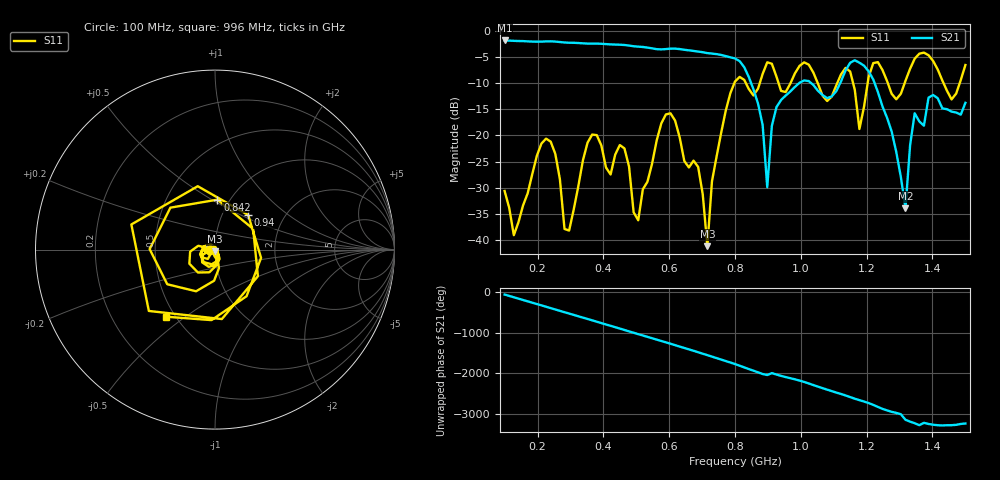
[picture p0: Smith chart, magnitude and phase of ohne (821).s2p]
! NanoVNA-App
! Date: 2025-09-25 14:27:11
! Start: 100MHz Stop: 1,5GHz Points: 101
! S-Parameter data: F S11 S21 S12 S22
# Hz S RI R 50
!  Frequency  S11_Real  S11_Imag  S21_Real  S21_Imag  S12_Real  S12_Imag  S22_Real  S22_Imag
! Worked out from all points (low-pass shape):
!   101 points, 100 MHz to 1.5 GHz, reference 50 ohm
!   highest |S21| = -1.79 dB at 100 MHz (marker M1); lowest = -33.9 dB at 1.318 GHz (marker M2)
!   |S21| within 3 dB of the highest: start of sweep to 772.1 MHz
!   lowest |S11| = -41.2 dB at 716 MHz (marker M3), VSWR 1.02, Z = 49.8 - j0.85 ohm
!   |S11| at or under -10 dB: start of sweep to 797.9 MHz; 833.2 MHz to 875.1 MHz (41.82 MHz wide, 4.9 % of centre); 1.052 GHz to 1.11 GHz (58.81 MHz wide, 5.44 % of centre) (the widest 3 of 7)
!   S12 and S22 are empty: the file has one direction only
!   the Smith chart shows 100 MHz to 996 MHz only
!   S11 on the Smith chart (normalised r, x): 100 MHz: 0.94, -0.01; 842 MHz: 0.88, +0.53; 940 MHz: 1.32, +0.55; 996 MHz: 0.44, -0.42
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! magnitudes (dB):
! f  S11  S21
! 100 MHz  -30.6  -1.8
! 128 MHz  -39.1  -1.9
! 226 MHz  -20.6  -2.0
! 296 MHz  -38.2  -2.2
! 338 MHz  -24.7  -2.3
! 464 MHz  -22.5  -2.7
! 506 MHz  -36.2  -3.0
! 576 MHz  -17.7  -3.5
! 688 MHz  -26.0  -3.9
! 716 MHz  -41.2  -4.2
! 800 MHz  -9.7  -5.2
! 842 MHz  -11.1  -8.8
! 898 MHz  -6.0  -29.9
! 940 MHz  -11.5  -13.2
! 996 MHz  -6.7  -9.9
! 1.038 GHz  -7.9  -10.3
! 1.178 GHz  -18.8  -6.1
! 1.22 GHz  -6.1  -9.3
! 1.276 GHz  -12.0  -19.2
! 1.318 GHz  -9.5  -33.9
! 1.346 GHz  -5.3  -15.7
! 1.5 GHz  -6.5  -13.8
